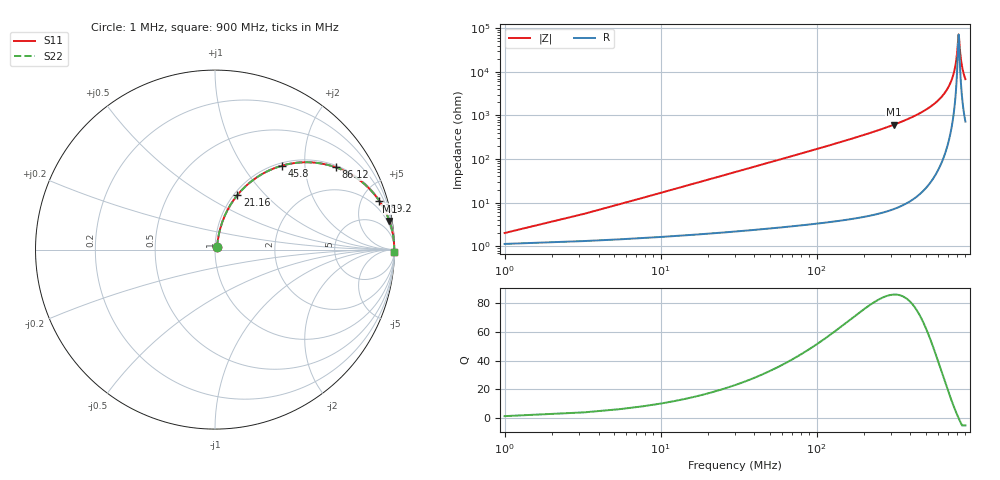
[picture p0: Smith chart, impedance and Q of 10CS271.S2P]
! Coilcraft 1008CS-271 Chip Inductor
! 02 July 2002
# MHZ S MA R 50
!Freq  MagS11  AngS11  MagS21  AngS21  MagS12  AngS12  MagS22  AngS22
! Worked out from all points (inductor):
!   403 points, 1 MHz to 900 MHz, reference 50 ohm
!   read as one part in series: L = 265 nH near 5.48 MHz
!   highest Q = 85.9 at 312.4 MHz (marker M1), where L = 311 nH
!   self-resonance near 814.1 MHz
!   S11 on the Smith chart (normalised r, x): 1 MHz: 1.02, +0.03; 21.16 MHz: 1.04, +0.71; 45.8 MHz: 1.05, +1.53; 86.12 MHz: 1.06, +2.90; 189.2 MHz: 1.09, +6.66; 900 MHz: open
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1  0.01991 54.8  0.9887 -0.9  0.9887 -0.9  0.01991 54.8
7.72  0.1265 75.9  0.977 -7.2  0.977 -7.2  0.1265 75.9
9.96  0.1618 75.1  0.9711 -9.3  0.9711 -9.3  0.1618 75.1
14.44  0.2306 72.5  0.9562 -13.3  0.9562 -13.3  0.2306 72.5
21.16  0.3273 67.7  0.9269 -19.1  0.9269 -19.1  0.3273 67.7
45.8  0.5985 51.4  0.782 -36.7  0.782 -36.7  0.5985 51.4
86.12  0.8152 34.2  0.562 -54.6  0.562 -54.6  0.8152 34.2
151.08  0.9289 20.9  0.3565 -68.2  0.3565 -68.2  0.9289 20.9
189.16  0.9542 16.7  0.2866 -72.6  0.2866 -72.6  0.9542 16.7
301.16  0.9836 9.7  0.1693 -79.6  0.1693 -79.6  0.9836 9.7
312.36  0.985 9.3  0.1615 -80.0  0.1615 -80.0  0.985 9.3
451.24  0.9945 5.3  0.09177 -83.9  0.09177 -83.9  0.9945 5.3
601.32  0.9978 2.6  0.04539 -86.0  0.04539 -86.0  0.9978 2.6
690.92  0.9985 1.4  0.02441 -85.8  0.02441 -85.8  0.9985 1.4
751.4  0.9986 0.7  0.01201 -83.2  0.01201 -83.2  0.9986 0.7
785  0.9986 0.3  0.005647 -76.0  0.005647 -76.0  0.9986 0.3
814.12  0.9986 0.0  0.001394 -5.1  0.001394 -5.1  0.9986 0.0
818.6  0.9986 -0.0  0.001556 26.0  0.001556 26.0  0.9986 -0.0
834.28  0.9986 -0.2  0.003758 67.5  0.003758 67.5  0.9986 -0.2
849.96  0.9985 -0.4  0.006387 76.4  0.006387 76.4  0.9985 -0.4
872.36  0.9984 -0.6  0.01016 80.9  0.01016 80.9  0.9984 -0.6
900  0.9983 -0.8  0.01474 83.1  0.01474 83.1  0.9983 -0.8
